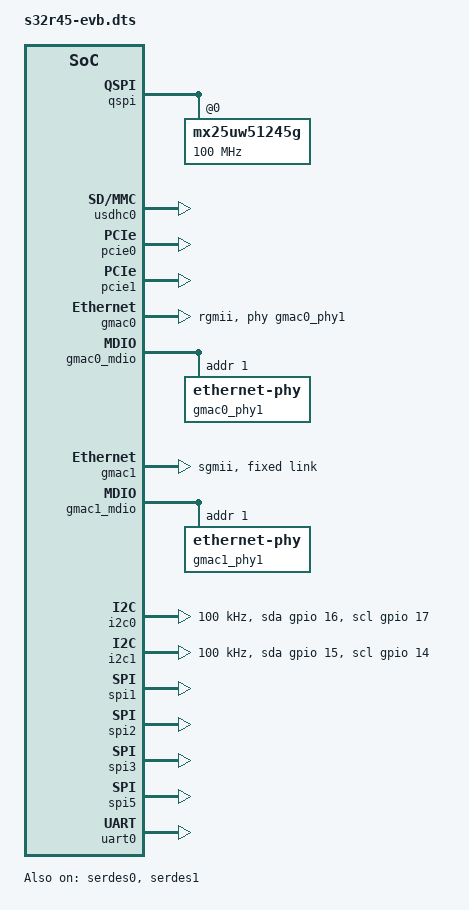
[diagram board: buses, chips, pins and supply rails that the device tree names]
// SPDX-License-Identifier: (GPL-2.0+ OR BSD-3-Clause)
/*
 * Copyright 2017-2024 NXP
 */
#include <dt-bindings/clock/s32r45-scmi-clock.h>
#include <dt-bindings/gpio/gpio.h>
#include <dt-bindings/nvmem/s32cc-siul2-nvmem.h>
#include <dt-bindings/pinctrl/s32cc-pinfunc.h>

/dts-v1/;
#include "s32r45.dtsi"
#include "s32cc-nxp-flash-macronix.dtsi"

&qspi {
	compatible = "nxp,s32r45-qspi", "nxp,s32cc-qspi";
	pinctrl-0 = <&qspi_pins>;
	pinctrl-names = "default";
	status = "okay";

	mx25uw51245g@0 {
		spi-max-frequency = <100000000>;
	};
};

&cmu {
	compatible = "nxp,s32r45-cmu";
};

&usdhc0 {
	pinctrl-names = "default";
	pinctrl-0 = <&sd0_pins_default>;
	no-1-8-v;
	status = "okay";
};

&pcie0 {
	status = "okay";

	link-speed = <3>; /* Gen3 */
};

&pcie1 {
	status = "okay";
};

&serdes0 {
	status = "okay";
};

&serdes1 {
	status = "okay";
};

&gmac0 {
	pinctrl-0 = <&gmac0_pins &gmac0_mdio_pins &gmac0_rgmii_pins>;
	pinctrl-1 = <&gmac0_mdio_pins>;
	pinctrl-2 = <&gmac0_pins &gmac0_mdio_pins &gmac0_rmii_pins>;
	pinctrl-3 = <&gmac0_pins &gmac0_mdio_pins &gmac0_mii_pins>;
	pinctrl-names = "gmac_rgmii", "gmac_sgmii", "gmac_rmii", "gmac_mii";
	status = "okay";
	phy-mode = "rgmii";
	phy-handle = <&gmac0_phy1>;
};

&gmac0_mdio {
	#address-cells = <1>;
	#size-cells = <0>;
	/* KSZ9031RNXCA on S32R-VNP-PROC */
	gmac0_phy1: ethernet-phy@1 {
		reg = <1>;
	};
};

&gmac1 {
	pinctrl-0 = <&gmac1_mdio_pins>;
	pinctrl-1 = <&gmac1_pins &gmac1_mdio_pins &gmac1_rgmii_pins>;
	pinctrl-2 = <&gmac1_pins &gmac1_mdio_pins &gmac1_rmii_pins>;
	pinctrl-3 = <&gmac1_pins &gmac1_mdio_pins &gmac1_mii_pins>;
	pinctrl-names = "gmac_sgmii", "gmac_rgmii", "gmac_rmii", "gmac_mii";
	phy-mode = "sgmii";
	status = "okay";

	/* Aquantia driver is broken in U-Boot.
	 * Use fixed-link instead of phy-handle.
	 */
	fixed-link {
		speed = <1000>;
		full-duplex;
	};
};

&gmac1_mdio {
	#address-cells = <1>;
	#size-cells = <0>;
	/* AQR107 on S32GRV-PLATEVB */
	gmac1_phy1: ethernet-phy@1 {
		reg = <1>;
	};
};

/* J36 - PMIC */
&i2c0 {
	clock-frequency = <100000>;
	pinctrl-names = "default", "gpio";
	pinctrl-0 = <&i2c0_pins>;
	pinctrl-1 = <&i2c0_gpio_pins>;
	scl-gpios = <&gpio 17 (GPIO_ACTIVE_HIGH | GPIO_OPEN_DRAIN)>;
	sda-gpios = <&gpio 16 (GPIO_ACTIVE_HIGH | GPIO_OPEN_DRAIN)>;
	status = "okay";
};

/* J37 */
&i2c1 {
	clock-frequency = <100000>;
	pinctrl-names = "default", "gpio";
	pinctrl-0 = <&i2c1_pins>;
	pinctrl-1 = <&i2c1_gpio_pins>;
	scl-gpios = <&gpio 14 (GPIO_ACTIVE_HIGH | GPIO_OPEN_DRAIN)>;
	sda-gpios = <&gpio 15 (GPIO_ACTIVE_HIGH | GPIO_OPEN_DRAIN)>;
	status = "okay";
};

&pinctrl {
	u-boot,dm-pre-reloc;

	dspi1_pins: dspi1 {
		dspi1_grp0 {
			pinmux = <S32CC_PINMUX(20, FUNC1)>,
				 <S32CC_PINMUX(22, FUNC1)>;
			output-enable;
			slew-rate = <S32CC_GPIO_3V3_SLEW_50MHZ>;
		};

		dspi1_grp1 {
			pinmux = <S32CC_PINMUX(21, FUNC0)>;
			input-enable;
			slew-rate = <S32CC_GPIO_3V3_SLEW_50MHZ>;
			bias-pull-up;
		};

		dspi1_grp2 {
			pinmux = <S32CC_PINMUX(23, FUNC1)>,
				 <S32CC_PINMUX(24, FUNC1)>;
			output-enable;
			slew-rate = <S32CC_GPIO_3V3_SLEW_50MHZ>;
			bias-pull-up;
		};

		dspi1_grp3 {
			pinmux = <S32CC_PINMUX(623, FUNC4)>;
		};

	};

	dspi2_pins: dspi2 {
		dspi2_grp0 {
			pinmux = <S32CC_PINMUX(27, FUNC1)>,
				 <S32CC_PINMUX(29, FUNC1)>;
			output-enable;
			slew-rate = <S32CC_GPIO_3V3_SLEW_50MHZ>;
		};

		dspi2_grp1 {
			pinmux = <S32CC_PINMUX(30, FUNC1)>,
				 <S32CC_PINMUX(31, FUNC1)>;
			output-enable;
			slew-rate = <S32CC_GPIO_3V3_SLEW_50MHZ>;
			bias-pull-up;
		};

		dspi2_grp2 {
			pinmux = <S32CC_PINMUX(33, FUNC0)>;
			input-enable;
			slew-rate = <S32CC_GPIO_3V3_SLEW_50MHZ>;
			bias-pull-up;
		};

		dspi2_grp3 {
			pinmux = <S32CC_PINMUX(681, FUNC2)>;
		};

	};

	dspi3_pins: dspi3 {
		dspi3_grp0 {
			pinmux = <S32CC_PINMUX(36, FUNC1)>,
				 <S32CC_PINMUX(45, FUNC1)>;
			output-enable;
			slew-rate = <S32CC_GPIO_3V3_SLEW_50MHZ>;
		};

		dspi3_grp1 {
			pinmux = <S32CC_PINMUX(38, FUNC0)>;
			input-enable;
			slew-rate = <S32CC_GPIO_3V3_SLEW_50MHZ>;
			bias-pull-up;
		};

		dspi3_grp2 {
			pinmux = <S32CC_PINMUX(39, FUNC1)>,
				 <S32CC_PINMUX(40, FUNC1)>;
			output-enable;
			slew-rate = <S32CC_GPIO_3V3_SLEW_50MHZ>;
			bias-pull-up;
		};

		dspi3_grp3 {
			pinmux = <S32CC_PINMUX(654, FUNC2)>;
		};

	};

	dspi5_pins: dspi5 {
		dspi5_grp0 {
			pinmux = <S32CC_PINMUX(128, FUNC1)>;
			output-enable;
			slew-rate = <S32CC_GPIO_3V3_SLEW_50MHZ>;
		};

		dspi5_grp1 {
			pinmux = <S32CC_PINMUX(131, FUNC2)>;
			output-enable;
			slew-rate = <S32CC_GPIO_3V3_SLEW_50MHZ>;
			bias-pull-up;
		};

		dspi5_grp2 {
			pinmux = <S32CC_PINMUX(132, FUNC0)>;
			input-enable;
			slew-rate = <S32CC_GPIO_3V3_SLEW_50MHZ>;
			bias-pull-up;
		};

		dspi5_grp3 {
			pinmux = <S32CC_PINMUX(133, FUNC4)>;
			output-enable;
			slew-rate = <S32CC_GPIO_3V3_SLEW_50MHZ>;
		};

		dspi5_grp4 {
			pinmux = <S32CC_PINMUX(750, FUNC4)>;
		};

	};

	gmac0_mdio_pins: gmac0_mdio {
		gmac0_mdio_grp0 {
			pinmux = <S32CC_PINMUX(60, FUNC1)>;
			output-enable;
			slew-rate = <S32CC_FAST_SLEW_166MHZ>;
		};

		gmac0_mdio_grp1 {
			pinmux = <S32CC_PINMUX(61, FUNC1)>;
			drive-open-drain;
			output-enable;
			input-enable;
			slew-rate = <S32CC_FAST_SLEW_166MHZ>;
		};

		gmac0_mdio_grp2 {
			pinmux = <S32CC_PINMUX(527, FUNC2)>;
		};

	};

	gmac0_pins: gmac0 {
		gmac0_grp1 {
			pinmux = <S32CC_PINMUX(67, FUNC1)>,
				 <S32CC_PINMUX(68, FUNC1)>,
				 <S32CC_PINMUX(69, FUNC1)>,
				 <S32CC_PINMUX(70, FUNC1)>,
				 <S32CC_PINMUX(71, FUNC1)>;
			output-enable;
			slew-rate = <S32CC_FAST_SLEW_166MHZ>;
		};

		gmac0_grp2 {
			pinmux = <S32CC_PINMUX(72, FUNC1)>,
				 <S32CC_PINMUX(73, FUNC1)>,
				 <S32CC_PINMUX(74, FUNC1)>,
				 <S32CC_PINMUX(75, FUNC1)>,
				 <S32CC_PINMUX(76, FUNC1)>,
				 <S32CC_PINMUX(77, FUNC1)>;
			input-enable;
			slew-rate = <S32CC_FAST_SLEW_166MHZ>;
		};

		gmac0_grp3 {
			pinmux = <S32CC_PINMUX(538, FUNC2)>,
				 <S32CC_PINMUX(529, FUNC2)>,
				 <S32CC_PINMUX(530, FUNC2)>,
				 <S32CC_PINMUX(531, FUNC2)>,
				 <S32CC_PINMUX(532, FUNC2)>,
				 <S32CC_PINMUX(533, FUNC2)>,
				 <S32CC_PINMUX(534, FUNC2)>,
				 <S32CC_PINMUX(535, FUNC2)>;
		};

	};

	gmac0_rgmii_pins: gmac0_rgmii {
		gmac0_rgmii_grp0 {
			pinmux = <S32CC_PINMUX(66, FUNC1)>;
			output-enable;
			slew-rate = <S32CC_FAST_SLEW_166MHZ>;
			bias-pull-up;
		};
	};

	gmac0_rmii_pins: gmac0_rmii {
		gmac0_rmii_grp0 {
			pinmux = <S32CC_PINMUX(71, FUNC2)>;
			input-enable;
			slew-rate = <S32CC_FAST_SLEW_166MHZ>;
			bias-pull-up;
		};
	};

	gmac0_mii_pins: gmac0_mii {
		gmac0_mii_grp0 {
			pinmux = <S32CC_PINMUX(66, FUNC1)>;
			input-enable;
			slew-rate = <S32CC_FAST_SLEW_166MHZ>;
			bias-pull-up;
		};
	};

	gmac1_mdio_pins: gmac1_mdio {
		gmac1_mdio_grp0 {
			pinmux = <S32CC_PINMUX(102, FUNC1)>;
			output-enable;
			slew-rate = <S32CC_FAST_SLEW_166MHZ>;
		};

		gmac1_mdio_grp1 {
			pinmux = <S32CC_PINMUX(103, FUNC1)>;
			drive-open-drain;
			output-enable;
			input-enable;
			slew-rate = <S32CC_FAST_SLEW_166MHZ>;
		};

		gmac1_mdio_grp2 {
			pinmux = <S32CC_PINMUX(659, FUNC2)>;
		};
	};

	gmac1_pins: gmac1 {
		gmac1_grp1 {
			pinmux = <S32CC_PINMUX(110, FUNC1)>,
				 <S32CC_PINMUX(105, FUNC1)>,
				 <S32CC_PINMUX(106, FUNC1)>,
				 <S32CC_PINMUX(107, FUNC1)>,
				 <S32CC_PINMUX(108, FUNC1)>;
			output-enable;
			slew-rate = <S32CC_FAST_SLEW_166MHZ>;
		};

		gmac1_grp2 {
			pinmux = <S32CC_PINMUX(113, FUNC1)>,
				 <S32CC_PINMUX(114, FUNC1)>,
				 <S32CC_PINMUX(115, FUNC1)>,
				 <S32CC_PINMUX(116, FUNC1)>,
				 <S32CC_PINMUX(117, FUNC1)>,
				 <S32CC_PINMUX(118, FUNC1)>;
			input-enable;
			slew-rate = <S32CC_FAST_SLEW_166MHZ>;
		};

		gmac1_grp3 {
			pinmux = <S32CC_PINMUX(660, FUNC2)>,
				 <S32CC_PINMUX(662, FUNC2)>,
				 <S32CC_PINMUX(663, FUNC2)>,
				 <S32CC_PINMUX(664, FUNC2)>,
				 <S32CC_PINMUX(665, FUNC2)>,
				 <S32CC_PINMUX(666, FUNC2)>,
				 <S32CC_PINMUX(667, FUNC2)>,
				 <S32CC_PINMUX(668, FUNC2)>;
		};
	};

	gmac1_rgmii_pins: gmac1_rgmii {
		gmac1_rgmii_grp0 {
			pinmux = <S32CC_PINMUX(109, FUNC1)>;
			output-enable;
			slew-rate = <S32CC_FAST_SLEW_166MHZ>;
			bias-pull-up;
		};
	};

	gmac1_rmii_pins: gmac1_rmii {
		gmac1_rmii_grp0 {
			pinmux = <S32CC_PINMUX(108, FUNC2)>;
			input-enable;
			slew-rate = <S32CC_FAST_SLEW_166MHZ>;
			bias-pull-up;
		};
	};

	gmac1_mii_pins: gmac1_mii {
		gmac1_mii_grp0 {
			pinmux = <S32CC_PINMUX(109, FUNC1)>;
			input-enable;
			slew-rate = <S32CC_FAST_SLEW_166MHZ>;
			bias-pull-up;
		};
	};

	i2c0_pins: i2c0 {
		i2c0_grp0 {
			pinmux = <S32CC_PINMUX(16, FUNC1)>,
				 <S32CC_PINMUX(17, FUNC1)>;
			drive-open-drain;
			output-enable;
			input-enable;
			slew-rate = <S32CC_GPIO_3V3_SLEW_50MHZ>;
		};

		i2c0_grp1 {
			pinmux = <S32CC_PINMUX(565, FUNC2)>,
				 <S32CC_PINMUX(566, FUNC2)>;
		};

	};

	i2c0_gpio_pins: i2c0_gpio {
		i2c0_gpio_grp0 {
			pinmux = <S32CC_PINMUX(16, FUNC0)>,
				 <S32CC_PINMUX(17, FUNC0)>;
			drive-open-drain;
			output-enable;
			slew-rate = <S32CC_GPIO_3V3_SLEW_50MHZ>;
		};

		i2c0_gpio_grp1 {
			pinmux = <S32CC_PINMUX(565, FUNC0)>,
				 <S32CC_PINMUX(566, FUNC0)>;
		};

	};

	i2c1_pins: i2c1 {
		i2c1_grp0 {
			pinmux = <S32CC_PINMUX(14, FUNC4)>;
			drive-open-drain;
			output-enable;
			input-enable;
			slew-rate = <S32CC_GPIO_3V3_SLEW_50MHZ>;
		};

		i2c1_grp1 {
			pinmux = <S32CC_PINMUX(15, FUNC3)>;
			drive-open-drain;
			output-enable;
			input-enable;
			slew-rate = <S32CC_GPIO_3V3_SLEW_50MHZ>;
		};

		i2c1_grp2 {
			pinmux = <S32CC_PINMUX(615, FUNC2)>,
				 <S32CC_PINMUX(616, FUNC2)>;
		};

	};

	i2c1_gpio_pins: i2c1_gpio {
		i2c1_gpio_grp0 {
			pinmux = <S32CC_PINMUX(14, FUNC0)>,
				 <S32CC_PINMUX(15, FUNC0)>;
			drive-open-drain;
			output-enable;
			slew-rate = <S32CC_GPIO_3V3_SLEW_50MHZ>;
		};

		i2c1_gpio_grp1 {
			pinmux = <S32CC_PINMUX(615, FUNC0)>,
				 <S32CC_PINMUX(616, FUNC0)>;
		};

	};

	qspi_pins: qspi {
		qspi_grp0 {
			pinmux = <S32CC_PINMUX(85, FUNC1)>,
				 <S32CC_PINMUX(86, FUNC1)>,
				 <S32CC_PINMUX(87, FUNC1)>,
				 <S32CC_PINMUX(88, FUNC1)>,
				 <S32CC_PINMUX(89, FUNC1)>,
				 <S32CC_PINMUX(90, FUNC1)>,
				 <S32CC_PINMUX(91, FUNC1)>,
				 <S32CC_PINMUX(92, FUNC1)>,
				 <S32CC_PINMUX(93, FUNC1)>;
			output-enable;
			input-enable;
			slew-rate = <S32CC_GPIO_1V8_SLEW_150MHZ>;
			bias-pull-down;
		};

		qspi_grp1 {
			pinmux = <S32CC_PINMUX(96, FUNC1)>,
				 <S32CC_PINMUX(97, FUNC1)>,
				 <S32CC_PINMUX(98, FUNC1)>,
				 <S32CC_PINMUX(99, FUNC1)>;
			output-enable;
			slew-rate = <S32CC_GPIO_1V8_SLEW_150MHZ>;
		};

		qspi_grp2 {
			pinmux = <S32CC_PINMUX(100, FUNC1)>,
				 <S32CC_PINMUX(101, FUNC1)>;
			output-enable;
			slew-rate = <S32CC_GPIO_1V8_SLEW_150MHZ>;
			bias-pull-up;
		};

		qspi_grp3 {
			pinmux = <S32CC_PINMUX(540, FUNC2)>,
				 <S32CC_PINMUX(541, FUNC2)>,
				 <S32CC_PINMUX(542, FUNC2)>,
				 <S32CC_PINMUX(543, FUNC2)>,
				 <S32CC_PINMUX(544, FUNC2)>,
				 <S32CC_PINMUX(545, FUNC2)>,
				 <S32CC_PINMUX(546, FUNC2)>,
				 <S32CC_PINMUX(547, FUNC2)>,
				 <S32CC_PINMUX(548, FUNC2)>;
		};
	};

	uart0_pins: uart0 {
		uart0_grp0 {
			pinmux = <S32CC_PINMUX(41, FUNC1)>;
			output-enable;
			slew-rate = <S32CC_GPIO_3V3_SLEW_50MHZ>;
		};

		uart0_grp1 {
			pinmux = <S32CC_PINMUX(42, FUNC0)>;
			input-enable;
			slew-rate = <S32CC_GPIO_3V3_SLEW_50MHZ>;
		};

		uart0_pins_grp2 {
			pinmux = <S32CC_PINMUX(512, FUNC2)>;
		};
	};
};

&spi1 {
	pinctrl-names = "default";
	pinctrl-0 = <&dspi1_pins>;
	status = "okay";
};

&spi2 {
	pinctrl-names = "default";
	pinctrl-0 = <&dspi2_pins>;
	status = "okay";
};

&spi3 {
	pinctrl-names = "default";
	pinctrl-0 = <&dspi3_pins>;
	status = "okay";
};

&spi5 {
	pinctrl-names = "default";
	pinctrl-0 =  <&dspi5_pins>;
	status = "okay";
};

&ocotp {
	compatible = "nxp,s32r45-ocotp";
};

&uart0 {
	pinctrl-0 = <&uart0_pins>;
	pinctrl-names = "default";
	status = "okay";
};
